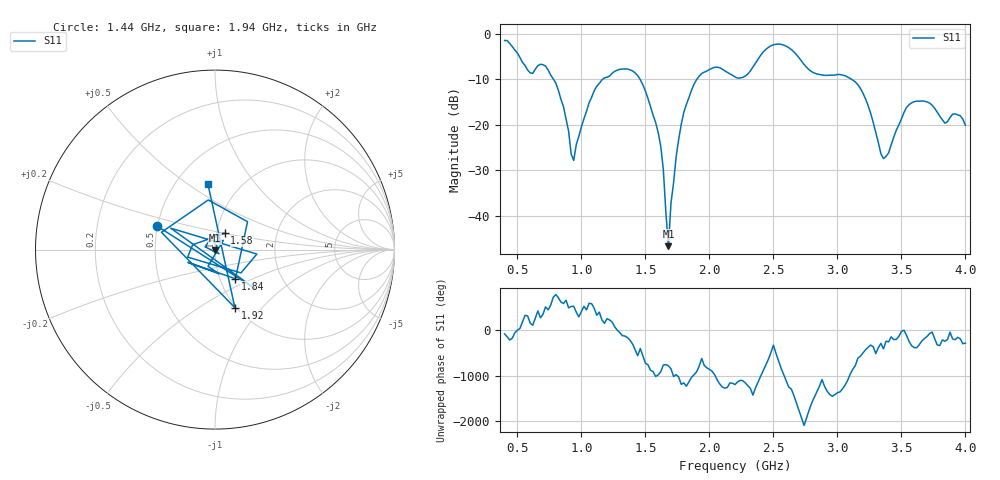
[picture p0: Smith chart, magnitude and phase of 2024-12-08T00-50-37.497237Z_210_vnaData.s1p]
!Created with skrf (http://scikit-rf.org).
# Hz S RI R 50.0
!freq ReS11 ImS11
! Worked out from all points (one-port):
!   181 points, 400 MHz to 4 GHz, reference 50 ohm
!   lowest |S11| = -46.7 dB at 1.68 GHz (marker M1), VSWR 1.01, Z = 50.2 - j0.418 ohm
!   |S11| at or under -10 dB: 781.6 MHz to 1.167 GHz (385.1 MHz wide, 39.5 % of centre); 1.458 GHz to 1.902 GHz (443.9 MHz wide, 26.4 % of centre); 3.11 GHz to end of sweep
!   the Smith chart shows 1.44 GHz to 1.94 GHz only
!   S11 on the Smith chart (normalised r, x): 1.44 GHz: 0.50, +0.15; 1.58 GHz: 1.09, +0.20; 1.84 GHz: 1.18, -0.40; 1.92 GHz: 0.99, -0.72; 1.94 GHz: 0.72, +0.60
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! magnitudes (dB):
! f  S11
! 400 MHz  -1.5
! 600 MHz  -8.6
! 720 MHz  -7.1
! 860 MHz  -16.0
! 940 MHz  -27.9
! 1.1 GHz  -12.5
! 1.3 GHz  -7.8
! 1.44 GHz  -9.2
! 1.58 GHz  -19.5
! 1.64 GHz  -29.9
! 1.68 GHz  -46.7
! 1.7 GHz  -37.2
! 1.76 GHz  -23.2
! 1.84 GHz  -14.1
! 1.92 GHz  -9.3
! 1.94 GHz  -8.7
! 2.2 GHz  -9.5
! 2.48 GHz  -2.7
! 2.66 GHz  -4.0
! 2.82 GHz  -8.6
! 3.1 GHz  -9.8
! 3.22 GHz  -14.4
! 3.36 GHz  -27.5
! 3.56 GHz  -15.6
! 3.7 GHz  -15.0
! 3.84 GHz  -19.7
! 3.92 GHz  -17.6
! 4 GHz  -20.1
